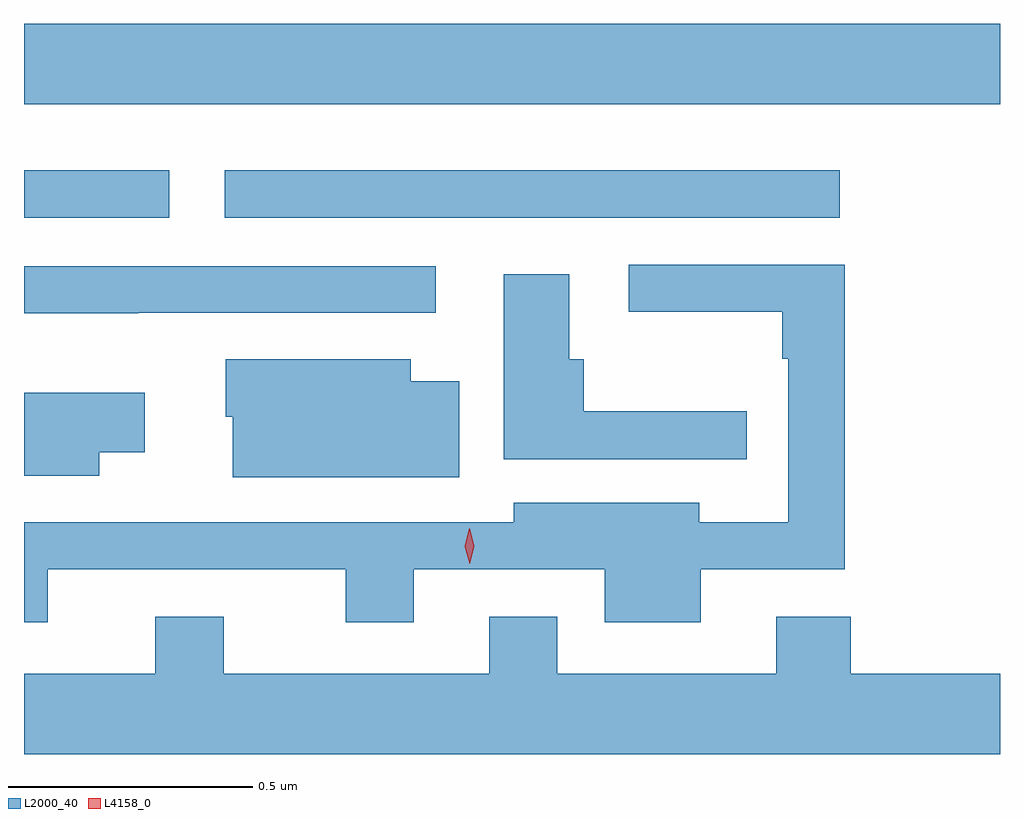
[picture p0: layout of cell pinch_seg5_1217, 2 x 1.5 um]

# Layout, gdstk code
import gdstk
lib = gdstk.Library(unit=1e-6, precision=1e-09)
def R(c, l, rs):  # rectangles x0, y0, x1, y1
    for r in rs: c.add(gdstk.rectangle(r[:2], r[2:], *l))
def P(c, l, *ps):  # polygons
    for p in ps: c.add(gdstk.Polygon(p, *l))
L2000_40 = (2000, 40)
L4158_0 = (4158, 0)

pinch_seg5_1217 = lib.new_cell('pinch_seg5_1217')
R(pinch_seg5_1217, L2000_40, [(832.152,844.539,832.45,844.636), (832.563,844.539,833.824,844.636), (832.152,844.772,834.152,844.936)])
P(pinch_seg5_1217, L2000_40, [(832.201,843.819),(832.811,843.819),(832.811,843.71),(832.951,843.71),(832.951,843.819),(833.342,843.819),(833.342,843.71),(833.539,843.71),(833.539,843.819),(833.834,843.819),(833.834,844.443),(833.391,844.443),(833.391,844.346),(833.706,844.346),(833.706,844.25),(833.718,844.25),(833.718,843.915),(833.536,843.915),(833.536,843.955),(833.156,843.955),(833.156,843.915),(832.152,843.915),(832.152,843.71),(832.201,843.71)],
  [(832.386,844.344),(832.996,844.344),(832.996,844.44),(832.152,844.44),(832.152,844.343),(832.386,844.343)],
  [(833.633,844.142),(833.299,844.142),(833.299,844.249),(833.269,844.249),(833.269,844.423),(833.135,844.423),(833.135,844.044),(833.633,844.044)],
  [(833.044,844.204),(832.945,844.204),(832.945,844.249),(832.565,844.249),(832.565,844.131),(832.58,844.131),(832.58,844.007),(833.044,844.007)],
  [(832.306,844.058),(832.399,844.058),(832.399,844.18),(832.152,844.18),(832.152,844.01),(832.306,844.01)],
  [(834.152,843.604),(833.846,843.604),(833.846,843.721),(833.693,843.721),(833.693,843.604),(833.245,843.604),(833.245,843.721),(833.105,843.721),(833.105,843.604),(832.561,843.604),(832.561,843.721),(832.421,843.721),(832.421,843.604),(832.152,843.604),(832.152,843.44),(834.152,843.44)])
P(pinch_seg5_1217, L4158_0, [(833.065,843.83),(833.065,843.83),(833.055,843.866),(833.064,843.902),(833.065,843.903),(833.065,843.902),(833.075,843.866),(833.065,843.83)])

lib.write_gds('pinch_seg5_1217.gds')
